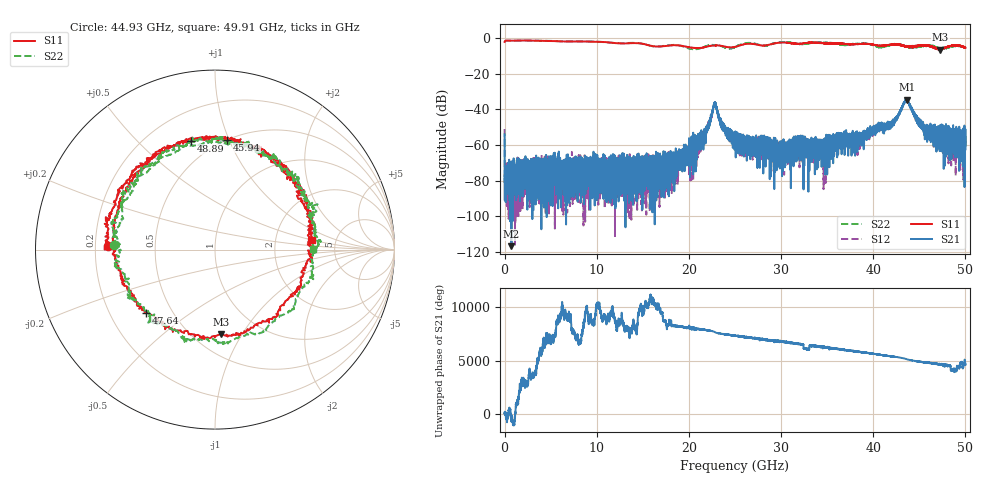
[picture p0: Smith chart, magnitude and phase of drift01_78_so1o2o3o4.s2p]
!Created with skrf (http://scikit-rf.org).
# Hz S RI R 50.0
!freq ReS11 ImS11 ReS21 ImS21 ReS12 ImS12 ReS22 ImS22
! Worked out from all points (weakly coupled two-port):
!   10001 points, 300 kHz to 50 GHz, reference 50 ohm
!   highest |S21| = -34.65 dB at 43.65 GHz (marker M1); lowest = -116.8 dB at 745.3 MHz (marker M2)
!   lowest |S11| = -6.5 dB at 47.28 GHz (marker M3), VSWR 2.80, Z = 33.5 - j40.7 ohm
!   |S11| at or under -10 dB: nowhere
!   |S22| runs from -6.4 to -1.3 dB; largest |S21 - S12| = 0.0055
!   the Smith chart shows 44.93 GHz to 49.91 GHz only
!   S11 on the Smith chart (normalised r, x): 44.93 GHz: 0.25, +0.02; 45.94 GHz: 0.50, +0.98; 47.64 GHz: 0.36, -0.34; 48.89 GHz: 0.37, +0.73; 49.91 GHz: 3.27, +0.48
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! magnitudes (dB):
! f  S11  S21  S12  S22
! 300 kHz  -2.1  -54.1  -51.1  -2.1
! 255.3 MHz  -1.4  -87.5  -73.3  -1.4
! 745.3 MHz  -1.5  -116.8  -88.7  -1.5
! 8.335 GHz  -1.9  -77.8  -84.1  -1.8
! 16.67 GHz  -4.8  -70.7  -69.7  -4.7
! 20.71 GHz  -5.6  -59.3  -64.3  -6.3
! 21.74 GHz  -5.1  -52.7  -53.1  -4.7
! 22.8 GHz  -4.3  -36.2  -36.3  -4.0
! 23.75 GHz  -4.6  -52.2  -49.3  -5.0
! 25 GHz  -5.0  -60.2  -54.0  -5.0
! 29.47 GHz  -2.8  -58.9  -66.0  -2.7
! 33.34 GHz  -2.6  -61.0  -61.4  -2.7
! 38.51 GHz  -3.3  -58.2  -55.0  -3.2
! 41.67 GHz  -3.9  -51.2  -50.4  -3.9
! 43.65 GHz  -5.0  -34.7  -35.3  -4.9
! 44.93 GHz  -4.5  -47.2  -46.9  -5.0
! 45.94 GHz  -4.2  -51.3  -50.2  -4.2
! 47.28 GHz  -6.5  -51.9  -56.0  -5.8
! 47.64 GHz  -5.7  -51.8  -51.2  -5.7
! 48.89 GHz  -4.1  -52.7  -62.6  -4.5
! 49.91 GHz  -5.3  -56.0  -61.4  -5.3
! 50 GHz  -5.6  -60.3  -59.3  -5.1
